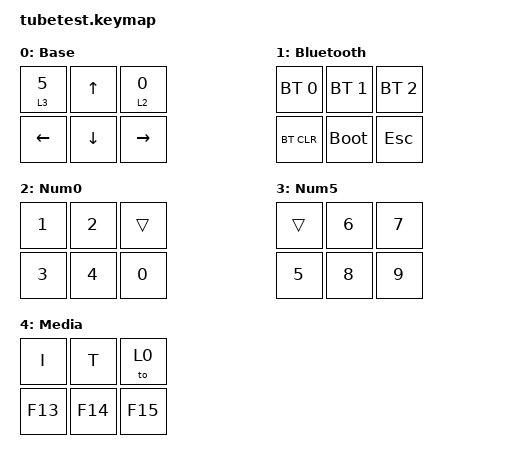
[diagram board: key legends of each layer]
#include <behaviors.dtsi>
#include <dt-bindings/zmk/keys.h>
#include <dt-bindings/zmk/bt.h>
#include <dt-bindings/zmk/mouse.h>
#include <dt-bindings/zmk/pointing.h>

/ {
    keymap {
        compatible = "zmk,keymap";

        BASE {
            display-name = "Base";
            bindings = <
                &ht_0 3 N5  &kp UP      &ht_0 2 N0
                &kp LEFT    &kp DOWN    &kp RIGHT
            >;
        };

        BLUETOOTH {
            display-name = "Bluetooth";
            bindings = <
                &bt BT_SEL 0    &bt BT_SEL 1    &bt BT_SEL 2
                &bt BT_CLR      &bootloader     &kp ESC
            >;
        };

        NUM0 {
            display-name = "Num0";
            bindings = <
                &kp N1  &kp N2  &trans
                &kp N3  &kp N4  &kp N0 
            >;               
        };

        NUM5 {
            display-name = "Num5";
            bindings = <
                &trans  &kp N6  &kp N7
                &kp N5  &kp N8  &kp N9 
            >;               
        };   

        MEDIA {
            display-name = "Media";
            bindings = <
                &kp I   &kp T   &to 0  
                &kp F13 &kp F14 &kp F15
            >;               
        };   
    };

    combos {
        compatible = "zmk,combos";
        combo_L {
            timeout-ms = <50>;
            key-positions = <4 5>;
            bindings = <&kp L>;
        };
        combo_J {
            timeout-ms = <50>;
            key-positions = <3 4>;
            bindings = <&kp J>;
        };
        combo_F {
            timeout-ms = <50>;
            key-positions = <0 2>;
            bindings = <&kp F>;
        };           
        combo_Space {
            timeout-ms = <50>;
            key-positions = <3 5>;
            bindings = <&kp SPACE>;
        };
        combo_shift_comma {
            timeout-ms = <50>;
            key-positions = <0 3>;
            bindings = <&kp LS(COMMA)>;
        };   
        combo_shift_dot {
            timeout-ms = <50>;
            key-positions = <2 5>;
            bindings = <&kp LS(DOT)>;
        };
        combo_M {
            timeout-ms = <50>;
            key-positions = <1 4>;
            bindings = <&kp M>;
        };   
        combo_BLUETOOTH {
            timeout-ms = <50>;
            key-positions = <0 1 2>;
            bindings = <&sl 1>;
        };
        combo_BASE {
            timeout-ms = <50>;
            key-positions = <3 4 5>;
            bindings = <&to 0>;
        };
    };
    behaviors {
        ht_0: hold_tap_0 {
            compatible = "zmk,behavior-hold-tap";
            label = "HOLD_TAP_0";
            #binding-cells = <2>;
            tapping-term-ms = <100>;
            quick-tap-ms = <0>;
            flavor = "tap-preferred";
            bindings = <&mo>, <&kp>;
        };

    };
};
